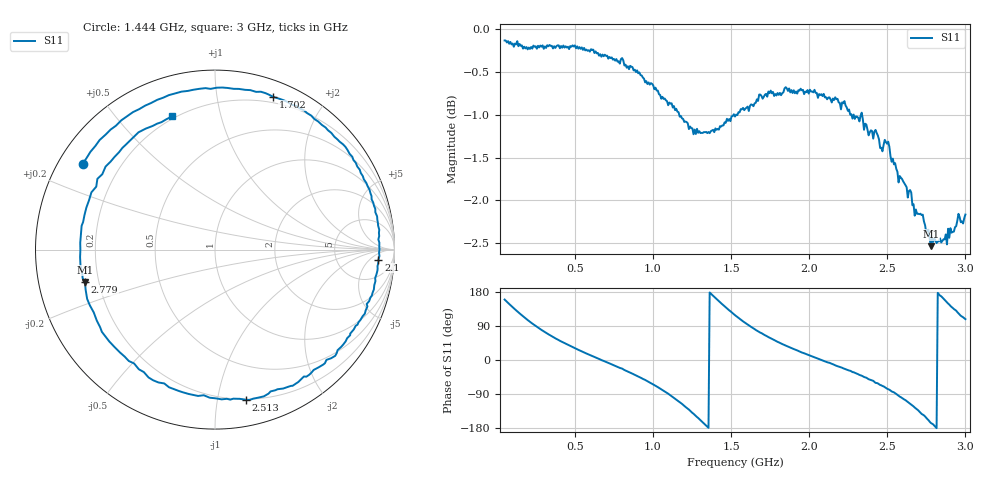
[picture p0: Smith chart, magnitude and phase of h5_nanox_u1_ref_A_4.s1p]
! nanovna_capture.py 2026-10-18T19:54:52+0900
! NanoVNA-F_V2 fw 0.6.0 SN 4A3639384505514B
! cal: load open short cal'ed  over 50000000-3000000000 Hz, 201 points
! points 401, avg 4
! h5 probe, tape spacer, genuine Nano X u1, position A (behind left button), placement 4
# HZ S RI R 50
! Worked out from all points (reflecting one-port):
!   401 points, 50 MHz to 3 GHz, reference 50 ohm
!   lowest |S11| = -2.5 dB at 2.779 GHz (marker M1), VSWR 6.90, Z = 7.35 - j5.99 ohm
!   phase of S11 starts at 160 deg and turns -772 deg over the sweep
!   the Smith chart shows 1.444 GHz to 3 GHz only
!   S11 on the Smith chart (normalised r, x): 1.444 GHz: 0.07, +0.30; 1.702 GHz: 0.14, +1.44; 2.1 GHz: 15, -10; 2.513 GHz: 0.20, -1.21; 2.779 GHz: 0.15, -0.12; 3 GHz: 0.19, +0.71
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5e7  -0.9227 0.3448
1.385e8  -0.5699 0.7942
2.19625e8  -0.1445 0.9657
3.08125e8  0.2777 0.9369
4.1875e8  0.657 0.7212
6.03125e8  0.9523 0.2018
7.875e8  0.8923 -0.3398
8.98125e8  0.7022 -0.6342
1.001375e9  0.3993 -0.837
1.15625e9  -0.2576 -0.8573
1.23e9  -0.5724 -0.6609
1.3185e9  -0.84 -0.226
1.384875e9  -0.8588 0.1596
1.443875e9  -0.7368 0.4788
1.525e9  -0.4215 0.783
1.606125e9  -0.0529 0.8996
1.702e9  0.3251 0.8509
1.89375e9  0.7926 0.4629
2.10025e9  0.9108 -0.0563
2.2625e9  0.7842 -0.424
2.402625e9  0.5091 -0.708
2.51325e9  0.1707 -0.8366
2.63125e9  -0.2825 -0.7457
2.697625e9  -0.5291 -0.5735
2.77875e9  -0.7249 -0.1801
2.874625e9  -0.6885 0.3191
2.948375e9  -0.4583 0.6225
3e9  -0.2389 0.7419
